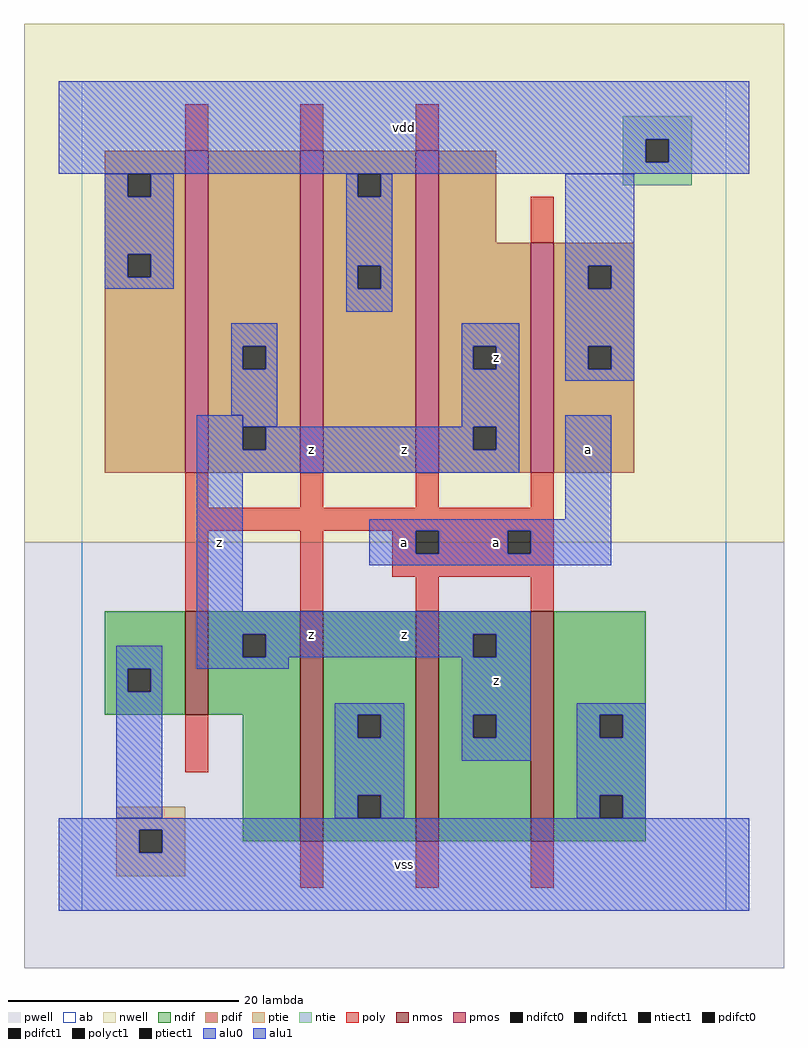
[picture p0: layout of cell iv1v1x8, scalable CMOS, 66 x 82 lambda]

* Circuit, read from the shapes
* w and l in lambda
.subckt iv1v1x8 a vdd vss z
M1 z a vss vss nfet w=9 l=2
M2 vss a z vss nfet w=20 l=2 m=3
M3 z a vdd vdd pfet w=28 l=2 m=3
M4 vdd a z vdd pfet w=20 l=2
.ends

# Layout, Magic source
magic
tech scmos
<< ab >>
rect 0 0 56 72
<< nwell >>
rect -5 32 61 77
<< pwell >>
rect -5 -5 61 32
<< poly >>
rect 9 66 11 70
rect 19 66 21 70
rect 29 66 31 70
rect 39 58 41 62
rect 9 35 11 38
rect 19 35 21 38
rect 29 35 31 38
rect 39 35 41 38
rect 9 33 41 35
rect 9 26 11 33
rect 19 26 21 33
rect 27 31 29 33
rect 31 31 37 33
rect 39 31 41 33
rect 27 29 41 31
rect 29 26 31 29
rect 39 26 41 29
rect 9 12 11 17
rect 19 2 21 6
rect 29 2 31 6
rect 39 2 41 6
<< ndif >>
rect 2 21 9 26
rect 2 19 4 21
rect 6 19 9 21
rect 2 17 9 19
rect 11 24 19 26
rect 11 22 14 24
rect 16 22 19 24
rect 11 17 19 22
rect 14 6 19 17
rect 21 17 29 26
rect 21 15 24 17
rect 26 15 29 17
rect 21 10 29 15
rect 21 8 24 10
rect 26 8 29 10
rect 21 6 29 8
rect 31 24 39 26
rect 31 22 34 24
rect 36 22 39 24
rect 31 17 39 22
rect 31 15 34 17
rect 36 15 39 17
rect 31 6 39 15
rect 41 17 49 26
rect 41 15 45 17
rect 47 15 49 17
rect 41 10 49 15
rect 41 8 45 10
rect 47 8 49 10
rect 41 6 49 8
<< pdif >>
rect 2 64 9 66
rect 2 62 4 64
rect 6 62 9 64
rect 2 57 9 62
rect 2 55 4 57
rect 6 55 9 57
rect 2 38 9 55
rect 11 49 19 66
rect 11 47 14 49
rect 16 47 19 49
rect 11 42 19 47
rect 11 40 14 42
rect 16 40 19 42
rect 11 38 19 40
rect 21 64 29 66
rect 21 62 24 64
rect 26 62 29 64
rect 21 56 29 62
rect 21 54 24 56
rect 26 54 29 56
rect 21 38 29 54
rect 31 58 36 66
rect 31 49 39 58
rect 31 47 34 49
rect 36 47 39 49
rect 31 42 39 47
rect 31 40 34 42
rect 36 40 39 42
rect 31 38 39 40
rect 41 56 48 58
rect 41 54 44 56
rect 46 54 48 56
rect 41 49 48 54
rect 41 47 44 49
rect 46 47 48 49
rect 41 38 48 47
<< alu1 >>
rect -2 67 58 72
rect -2 65 49 67
rect 51 65 58 67
rect -2 64 58 65
rect 10 40 14 43
rect 33 49 38 51
rect 33 47 34 49
rect 36 47 38 49
rect 33 42 38 47
rect 16 40 34 42
rect 36 40 38 42
rect 10 38 38 40
rect 10 26 14 38
rect 42 34 46 43
rect 25 33 46 34
rect 25 31 29 33
rect 31 31 37 33
rect 39 31 46 33
rect 25 30 46 31
rect 10 24 39 26
rect 10 22 14 24
rect 16 22 34 24
rect 36 22 39 24
rect 10 21 18 22
rect 33 17 39 22
rect 33 15 34 17
rect 36 15 39 17
rect 33 13 39 15
rect -2 7 58 8
rect -2 5 5 7
rect 7 5 58 7
rect -2 0 58 5
<< ptie >>
rect 3 7 9 9
rect 3 5 5 7
rect 7 5 9 7
rect 3 3 9 5
<< ntie >>
rect 47 67 53 69
rect 47 65 49 67
rect 51 65 53 67
rect 47 63 53 65
<< nmos >>
rect 9 17 11 26
rect 19 6 21 26
rect 29 6 31 26
rect 39 6 41 26
<< pmos >>
rect 9 38 11 66
rect 19 38 21 66
rect 29 38 31 66
rect 39 38 41 58
<< polyct1 >>
rect 29 31 31 33
rect 37 31 39 33
<< ndifct0 >>
rect 4 19 6 21
rect 24 15 26 17
rect 24 8 26 10
rect 45 15 47 17
rect 45 8 47 10
<< ndifct1 >>
rect 14 22 16 24
rect 34 22 36 24
rect 34 15 36 17
<< ntiect1 >>
rect 49 65 51 67
<< ptiect1 >>
rect 5 5 7 7
<< pdifct0 >>
rect 4 62 6 64
rect 4 55 6 57
rect 14 47 16 49
rect 24 62 26 64
rect 24 54 26 56
rect 44 54 46 56
rect 44 47 46 49
<< pdifct1 >>
rect 14 40 16 42
rect 34 47 36 49
rect 34 40 36 42
<< alu0 >>
rect 2 62 4 64
rect 6 62 8 64
rect 2 57 8 62
rect 2 55 4 57
rect 6 55 8 57
rect 2 54 8 55
rect 23 62 24 64
rect 26 62 27 64
rect 23 56 27 62
rect 23 54 24 56
rect 26 54 27 56
rect 23 52 27 54
rect 42 56 48 64
rect 42 54 44 56
rect 46 54 48 56
rect 13 49 17 51
rect 13 47 14 49
rect 16 47 17 49
rect 13 43 17 47
rect 14 42 17 43
rect 42 49 48 54
rect 42 47 44 49
rect 46 47 48 49
rect 42 46 48 47
rect 3 21 7 23
rect 3 19 4 21
rect 6 19 7 21
rect 3 8 7 19
rect 22 17 28 18
rect 22 15 24 17
rect 26 15 28 17
rect 22 10 28 15
rect 43 17 49 18
rect 43 15 45 17
rect 47 15 49 17
rect 22 8 24 10
rect 26 8 28 10
rect 43 10 49 15
rect 43 8 45 10
rect 47 8 49 10
<< labels >>
rlabel alu1 12 32 12 32 6 z
rlabel alu1 20 24 20 24 6 z
rlabel alu1 20 40 20 40 6 z
rlabel alu1 28 4 28 4 6 vss
rlabel alu1 36 20 36 20 6 z
rlabel alu1 28 24 28 24 6 z
rlabel alu1 28 32 28 32 6 a
rlabel alu1 36 32 36 32 6 a
rlabel alu1 28 40 28 40 6 z
rlabel alu1 36 48 36 48 6 z
rlabel alu1 28 68 28 68 6 vdd
rlabel alu1 44 40 44 40 6 a
<< end >>
